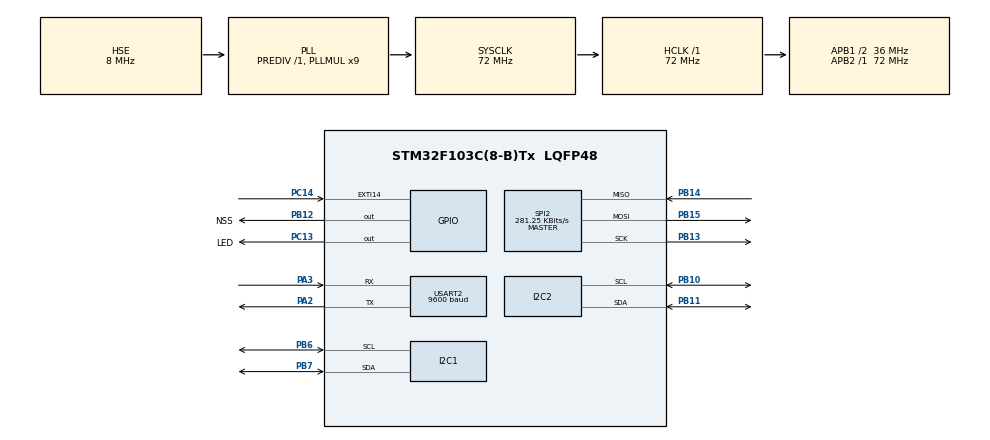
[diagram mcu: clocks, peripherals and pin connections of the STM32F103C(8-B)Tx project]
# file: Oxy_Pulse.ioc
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FATFS._CODE_PAGE=1
FATFS._USE_LFN=1
I2C2.I2C_Mode=I2C_Fast
Mcu.Family=STM32F1
Mcu.Name=STM32F103C(8-B)Tx
Mcu.Package=LQFP48
NVIC.EXTI15_10_IRQn=true\:0\:0\:false\:false\:true\:true\:true\:true
NVIC.I2C1_EV_IRQn=true\:0\:0\:false\:false\:true\:true\:true\:true
NVIC.I2C2_EV_IRQn=true\:0\:0\:false\:false\:true\:true\:true\:true
NVIC.PriorityGroup=NVIC_PRIORITYGROUP_4
NVIC.USART2_IRQn=true\:0\:0\:false\:false\:true\:true\:true\:true
PA13.Mode=Serial_Wire
PA13.Signal=SYS_JTMS-SWDIO
PA14.Mode=Serial_Wire
PA14.Signal=SYS_JTCK-SWCLK
PA2.Mode=Asynchronous
PA2.Signal=USART2_TX
PA3.Mode=Asynchronous
PA3.Signal=USART2_RX
PB10.Mode=I2C
PB10.Signal=I2C2_SCL
PB11.Mode=I2C
PB11.Signal=I2C2_SDA
PB12.GPIO_Label=NSS
PB12.Signal=GPIO_Output
PB13.Mode=Full_Duplex_Master
PB13.Signal=SPI2_SCK
PB14.Mode=Full_Duplex_Master
PB14.Signal=SPI2_MISO
PB15.Mode=Full_Duplex_Master
PB15.Signal=SPI2_MOSI
PB6.Mode=I2C
PB6.Signal=I2C1_SCL
PB7.Mode=I2C
PB7.Signal=I2C1_SDA
PC13-TAMPER-RTC.GPIO_Label=LED
PC13-TAMPER-RTC.Signal=GPIO_Output
PC14-OSC32_IN.GPIO_ModeDefaultEXTI=GPIO_MODE_IT_FALLING
PC14-OSC32_IN.GPIO_PuPd=GPIO_NOPULL
PC14-OSC32_IN.Signal=GPXTI14
PD0-OSC_IN.Mode=HSE-External-Oscillator
PD0-OSC_IN.Signal=RCC_OSC_IN
PD1-OSC_OUT.Mode=HSE-External-Oscillator
PD1-OSC_OUT.Signal=RCC_OSC_OUT
ProjectManager.HeapSize=0x200
ProjectManager.StackSize=0x400
ProjectManager.TargetToolchain=STM32CubeIDE
RCC.AHBFreq_Value=72000000
RCC.APB1CLKDivider=RCC_HCLK_DIV2
RCC.APB1Freq_Value=36000000
RCC.APB1TimFreq_Value=72000000
RCC.APB2Freq_Value=72000000
RCC.APB2TimFreq_Value=72000000
RCC.HCLKFreq_Value=72000000
RCC.PLLMUL=RCC_PLL_MUL9
RCC.PLLSourceVirtual=RCC_PLLSOURCE_HSE
RCC.RTCClockSelection=RCC_RTCCLKSOURCE_HSE_DIV128
RCC.SYSCLKFreq_VALUE=72000000
RCC.SYSCLKSource=RCC_SYSCLKSOURCE_PLLCLK
RCC.USBFreq_Value=72000000
RTC.Date=4
RTC.Hours=22
RTC.Minutes=50
RTC.Month=RTC_MONTH_NOVEMBER
RTC.WeekDay=RTC_WEEKDAY_FRIDAY
RTC.Year=22
SPI2.BaudRatePrescaler=SPI_BAUDRATEPRESCALER_128
SPI2.CalculateBaudRate=281.25 KBits/s
SPI2.Direction=SPI_DIRECTION_2LINES
SPI2.Mode=SPI_MODE_MASTER
SPI2.VirtualType=VM_MASTER
USART2.BaudRate=9600
USART2.VirtualMode=VM_ASYNC
VP_FATFS_VS_Generic.Mode=User_defined
VP_RTC_VS_RTC_Activate.Mode=RTC_Enabled
VP_RTC_VS_RTC_Calendar.Mode=RTC_Calendar
board=custom

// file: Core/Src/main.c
/* USER CODE BEGIN Header */
/**
  ******************************************************************************
  * @file           : main.c
  * @brief          : Main program body
  ******************************************************************************
  * @attention
  *
  * <h2><center>&copy; Copyright (c) 2022 STMicroelectronics.
  * All rights reserved.</center></h2>
  *
  * This software component is licensed by ST under BSD 3-Clause license,
  * the "License"; You may not use this file except in compliance with the
  * License. You may obtain a copy of the License at:
  *                        opensource.org/licenses/BSD-3-Clause
  *
  ******************************************************************************
  */
/* USER CODE END Header */
#include "main.h"
#include "fatfs.h"

/* USER CODE BEGIN Includes */
#include "stdio.h"
#include "stdbool.h"
#include "fonts.h"
#include "ssd1306.h"
#include "string.h"
#include "SPISD.h"
#include "Globals.h"
#include "MAX30100.h"
/* USER CODE END Includes */

/* USER CODE BEGIN PD */
#define DEMORA 4000
#define DEMORA2 1
#define DEMORA3 27
#define DEMORA4 5000
#define DEMORA5 10000
#define ACTIVADO 60
/* USER CODE END PD */

I2C_HandleTypeDef hi2c1;
I2C_HandleTypeDef hi2c2;

RTC_HandleTypeDef hrtc;

SPI_HandleTypeDef hspi2;

UART_HandleTypeDef huart2;

/* USER CODE BEGIN PV */

pulseoxymeter_t result;

SPISD spisd;
SPISD *mainSD = &spisd;
uint8_t Sector0[516];

uint16_t CONTADOR_1=DEMORA;
uint16_t CONTADOR_2=DEMORA2;
uint16_t CONTADOR_3=0;
uint16_t CONTADOR_4=0;
uint16_t CONTADOR_5=0;
uint16_t CONTADOR_ANTIRREBOTE=0;
uint16_t antirrebote=ACTIVADO;

uint8_t estado=0;
uint8_t state=0;
uint8_t byte;
uint8_t mensaje_START[]="Iniciando OXY_PULSE";
uint8_t mensaje_MIDIENDO[]="Listo para medir";
uint8_t mensaje_BPM[]="BPM:";
uint8_t mensaje_SPO2[]="SPO2:";
uint8_t mensaje_PULSO_PERDIDO[]="Pulso perdido...";
uint8_t mensaje_TAQUI[]="PELIGRO TAQUICARDIA";
uint8_t mensaje_BRADI[]="PELIGRO BRADICARDIA";

bool flag_pulso_perdido=0;
bool flag_pulsador_valido=0;
bool flag_estado_irq=1;
bool flag_HR_ON=0;
bool flag_limpiar=0;
bool flag_final=1;
bool flag_primera=1;
bool flag_mensaje=0;
bool flag_rebote=0;

bool debug=false;
const unsigned char LOGO [] = {
0x00, 0x00, 0x00, 0x00, 0x00, 0x00, 0x00, 0x00, 0x00, 0x00, 0x00, 0x00, 0x00, 0x00, 0x00, 0x00,
0x00, 0x00, 0x00, 0x00, 0x00, 0x00, 0x00, 0x00, 0x00, 0x00, 0x00, 0x00, 0x00, 0x00, 0x00, 0x00,
0x00, 0x00, 0x00, 0x00, 0x00, 0x00, 0x00, 0x00, 0x00, 0x00, 0x00, 0x00, 0x00, 0x00, 0x00, 0x00,
0x00, 0x00, 0x00, 0x00, 0x00, 0x00, 0x00, 0x00, 0x00, 0x00, 0x00, 0x00, 0x00, 0x00, 0x00, 0x00,
0x00, 0x00, 0x00, 0x00, 0x00, 0x00, 0x00, 0x00, 0x00, 0x00, 0x00, 0x00, 0x00, 0x00, 0x00, 0x00,
0x00, 0x00, 0x00, 0x00, 0x00, 0x00, 0x00, 0x00, 0x00, 0x00, 0x00, 0x00, 0x00, 0x00, 0x00, 0x00,
0x00, 0x00, 0x00, 0x00, 0x00, 0x00, 0x00, 0x00, 0x00, 0x00, 0x00, 0x00, 0x00, 0x00, 0x00, 0x00,
0x00, 0x00, 0x00, 0x00, 0x00, 0x00, 0x00, 0x00, 0x00, 0x00, 0x00, 0x00, 0x00, 0x00, 0x00, 0x00,
0x00, 0x00, 0x00, 0x00, 0x00, 0x00, 0x00, 0x00, 0x00, 0x00, 0x00, 0x00, 0x00, 0x00, 0x00, 0x00,
0x00, 0x00, 0x00, 0x00, 0x00, 0x00, 0x00, 0x00, 0x00, 0x00, 0x00, 0x00, 0x00, 0x00, 0x00, 0x00,
0x00, 0x00, 0x00, 0x00, 0x00, 0x00, 0x00, 0x00, 0x00, 0x00, 0x00, 0x00, 0x00, 0x00, 0x00, 0x00,
0x00, 0x00, 0x00, 0x00, 0x00, 0x00, 0x00, 0x00, 0x00, 0x00, 0x00, 0x00, 0x00, 0x00, 0x00, 0x00,
0x00, 0x00, 0x00, 0x00, 0x00, 0x00, 0x00, 0x00, 0x00, 0x00, 0x00, 0x00, 0x00, 0x00, 0x00, 0x00,
0x00, 0x00, 0x7F, 0x00, 0x00, 0xFE, 0x00, 0x00, 0x00, 0x00, 0x00, 0x00, 0x00, 0x00, 0x00, 0x00,
0x00, 0x01, 0xFF, 0xC0, 0x03, 0xFF, 0x80, 0x00, 0x00, 0x00, 0x00, 0x00, 0x00, 0x00, 0x00, 0x00,
0x00, 0x03, 0xFF, 0xF0, 0x0F, 0xFF, 0xC0, 0x00, 0x00, 0x00, 0x00, 0x00, 0x00, 0x00, 0x00, 0x00,
0x00, 0x07, 0xFF, 0xF8, 0x1F, 0xFF, 0xF0, 0x00, 0x00, 0x00, 0x00, 0x00, 0x00, 0x00, 0x00, 0x00,
0x00, 0x0F, 0xFF, 0xFC, 0x3F, 0xFF, 0xF0, 0x00, 0x00, 0x00, 0x00, 0x00, 0x00, 0x00, 0x00, 0x00,
0x00, 0x1F, 0xFF, 0xFE, 0x3F, 0xFF, 0xF8, 0x00, 0x00, 0x00, 0x00, 0x00, 0x00, 0x00, 0x00, 0x00,
0x00, 0x1F, 0xFF, 0xFE, 0x7F, 0xFF, 0xFC, 0x00, 0x00, 0x00, 0x00, 0x00, 0x00, 0x00, 0x00, 0x00,
0x00, 0x3F, 0xFF, 0xFF, 0xFF, 0xFF, 0xFC, 0x00, 0x00, 0x00, 0x00, 0x00, 0x00, 0x00, 0x00, 0x00,
0x00, 0x3F, 0xFF, 0xFC, 0x7F, 0xFF, 0xFC, 0x00, 0x00, 0x00, 0x00, 0x00, 0x00, 0x00, 0x00, 0x00,
0x00, 0x3F, 0xFF, 0xF8, 0x3F, 0xFF, 0xFC, 0x00, 0x00, 0x00, 0x00, 0x00, 0x00, 0x00, 0x00, 0x00,
0x00, 0x3F, 0xFF, 0xF9, 0x3F, 0xFF, 0xFC, 0x00, 0x00, 0x00, 0x00, 0x00, 0x00, 0x00, 0x00, 0x00,
0x00, 0x3F, 0xFF, 0xF9, 0x3F, 0xFF, 0xFC, 0x00, 0x00, 0x00, 0x00, 0x00, 0x00, 0x00, 0x00, 0x00,
0x00, 0x3F, 0xFF, 0xF9, 0x3F, 0xFF, 0xFC, 0x00, 0x00, 0x00, 0x00, 0x00, 0x00, 0x00, 0x00, 0x00,
0x00, 0x1F, 0xFF, 0xF9, 0x3F, 0xFF, 0xFC, 0x00, 0x00, 0x00, 0x00, 0x00, 0x00, 0x00, 0x00, 0x00,
0x00, 0x1F, 0xFF, 0xFB, 0x1F, 0xFF, 0xF8, 0x00, 0x00, 0x00, 0x00, 0x00, 0x00, 0x00, 0x00, 0x00,
0x00, 0x1F, 0xFF, 0xC3, 0x07, 0xFF, 0xF8, 0x00, 0x00, 0x00, 0x00, 0x00, 0x00, 0x00, 0x00, 0x00,
0x00, 0x0F, 0xFF, 0x83, 0x80, 0xFF, 0xF0, 0x00, 0x00, 0x00, 0x00, 0x00, 0x00, 0x00, 0x00, 0x00,
0x00, 0x0F, 0xFF, 0x92, 0x90, 0x7F, 0xF0, 0x00, 0x00, 0x00, 0x00, 0x00, 0x00, 0x00, 0x00, 0x00,
0x00, 0x00, 0x00, 0x3A, 0x91, 0x00, 0x00, 0x00, 0x00, 0x00, 0x00, 0x00, 0x00, 0x00, 0x00, 0x00,
0x00, 0x00, 0x00, 0x6E, 0x9B, 0x00, 0x00, 0x00, 0x00, 0x00, 0x00, 0x00, 0x00, 0x00, 0x00, 0x00,
0x00, 0x00, 0x00, 0x0C, 0xBB, 0x80, 0x00, 0x00, 0x00, 0x00, 0x00, 0x00, 0x00, 0x00, 0x00, 0x00,
0x00, 0x00, 0x00, 0x04, 0xAC, 0x00, 0x00, 0x00, 0x00, 0x00, 0x00, 0x00, 0x00, 0x00, 0x00, 0x00,
0x00, 0x00, 0xFF, 0xE4, 0xA4, 0x3F, 0x80, 0x00, 0x00, 0x00, 0x00, 0x00, 0x00, 0x00, 0x00, 0x00,
0x00, 0x00, 0xFF, 0xE0, 0xE0, 0xFF, 0x00, 0x00, 0x00, 0x00, 0x00, 0x00, 0x00, 0x00, 0x00, 0x00,
0x00, 0x00, 0x7F, 0xF0, 0xE1, 0xFE, 0x00, 0x00, 0x00, 0x00, 0x00, 0x00, 0x00, 0x00, 0x00, 0x00,
0x00, 0x00, 0x3F, 0xFE, 0x67, 0xFC, 0x00, 0x00, 0x00, 0x00, 0x00, 0x00, 0x00, 0x00, 0x00, 0x00,
0x00, 0x00, 0x1F, 0xFE, 0x47, 0xF8, 0x00, 0x00, 0x00, 0x00, 0x00, 0x00, 0x00, 0x00, 0x00, 0x00,
0x00, 0x00, 0x0F, 0xFE, 0x4F, 0xF0, 0x00, 0x00, 0x00, 0x00, 0x00, 0x00, 0x00, 0x00, 0x00, 0x00,
0x00, 0x00, 0x07, 0xFE, 0x4F, 0xE0, 0x00, 0x00, 0x00, 0x00, 0x00, 0x00, 0x00, 0x00, 0x00, 0x00,
0x00, 0x00, 0x03, 0xFE, 0x4F, 0xC0, 0x00, 0x00, 0x00, 0x00, 0x00, 0x00, 0x00, 0x00, 0x00, 0x00,
0x00, 0x00, 0x01, 0xFE, 0x0F, 0x80, 0x00, 0x00, 0x00, 0x00, 0x00, 0x00, 0x00, 0x00, 0x00, 0x00,
0x00, 0x00, 0x00, 0xFF, 0x1F, 0x00, 0x00, 0x00, 0x00, 0x00, 0x00, 0x00, 0x00, 0x00, 0x00, 0x00,
0x00, 0x00, 0x00, 0x7F, 0xFE, 0x00, 0x00, 0x00, 0x00, 0x00, 0x00, 0x00, 0x00, 0x00, 0x00, 0x00,
0x00, 0x00, 0x00, 0x3F, 0xFC, 0x00, 0x00, 0x00, 0x00, 0x00, 0x00, 0x00, 0x00, 0x00, 0x00, 0x00,
0x00, 0x00, 0x00, 0x1F, 0xF8, 0x00, 0x00, 0x00, 0x00, 0x00, 0x00, 0x00, 0x00, 0x00, 0x00, 0x00,
0x00, 0x00, 0x00, 0x0F, 0xF0, 0x00, 0x00, 0x00, 0x00, 0x00, 0x00, 0x00, 0x00, 0x00, 0x00, 0x00,
0x00, 0x00, 0x00, 0x07, 0xE0, 0x00, 0x00, 0x00, 0x00, 0x00, 0x00, 0x00, 0x00, 0x00, 0x00, 0x00,
0x00, 0x00, 0x00, 0x01, 0xC0, 0x00, 0x00, 0x00, 0x00, 0x00, 0x00, 0x00, 0x00, 0x00, 0x00, 0x00,
0x00, 0x00, 0x00, 0x00, 0x00, 0x00, 0x00, 0x00, 0x00, 0x00, 0x00, 0x00, 0x00, 0x00, 0x00, 0x00,
0x00, 0x00, 0x00, 0x00, 0x00, 0x00, 0x00, 0x00, 0x00, 0x00, 0x00, 0x00, 0x00, 0x00, 0x00, 0x00,
0x00, 0x00, 0x00, 0x00, 0x00, 0x00, 0x00, 0x00, 0x00, 0x00, 0x00, 0x00, 0x00, 0x00, 0x00, 0x00,
0x00, 0x00, 0x00, 0x00, 0x00, 0x00, 0x00, 0x00, 0x00, 0x00, 0x00, 0x00, 0x00, 0x00, 0x00, 0x00,
0x00, 0x00, 0x00, 0x00, 0x00, 0x00, 0x00, 0x00, 0x00, 0x00, 0x00, 0x00, 0x00, 0x00, 0x00, 0x00,
0x00, 0x00, 0x00, 0x00, 0x00, 0x00, 0x00, 0x00, 0x00, 0x00, 0x00, 0x00, 0x00, 0x00, 0x00, 0x00,
0x00, 0x00, 0x00, 0x00, 0x00, 0x00, 0x00, 0x00, 0x00, 0x00, 0x00, 0x00, 0x00, 0x00, 0x00, 0x00,
0x00, 0x00, 0x00, 0x00, 0x00, 0x00, 0x00, 0x00, 0x00, 0x00, 0x00, 0x00, 0x00, 0x00, 0x00, 0x00,
0x00, 0x00, 0x00, 0x00, 0x00, 0x00, 0x00, 0x00, 0x00, 0x00, 0x00, 0x00, 0x00, 0x00, 0x00, 0x00,
0x00, 0x00, 0x00, 0x00, 0x00, 0x00, 0x00, 0x00, 0x00, 0x00, 0x00, 0x00, 0x00, 0x00, 0x00, 0x00,
0x00, 0x00, 0x00, 0x00, 0x00, 0x00, 0x00, 0x00, 0x00, 0x00, 0x00, 0x00, 0x00, 0x00, 0x00, 0x00,
0x00, 0x00, 0x00, 0x00, 0x00, 0x00, 0x00, 0x00, 0x00, 0x00, 0x00, 0x00, 0x00, 0x00, 0x00, 0x00,
0x00, 0x00, 0x00, 0x00, 0x00, 0x00, 0x00, 0x00, 0x00, 0x00, 0x00, 0x00, 0x00, 0x00, 0x00, 0x00
};

const unsigned char TILDE_OK [] = {
0x00, 0x00, 0x00, 0x00, 0x00, 0x00, 0x00, 0x00, 0x00, 0x00, 0x00, 0x00, 0x00, 0x00, 0x00, 0x00,
0x00, 0x00, 0x00, 0xC0, 0x00, 0x00, 0x00, 0x00, 0x00, 0x00, 0x00, 0x00, 0x00, 0x00, 0x00, 0x00,
0x00, 0x00, 0x03, 0x00, 0x00, 0x00, 0x00, 0x00, 0x00, 0x00, 0x00, 0x00, 0x00, 0x00, 0x00, 0x00,
0x00, 0x00, 0x0E, 0x00, 0x00, 0x00, 0x00, 0x00, 0x00, 0x00, 0x00, 0x00, 0x00, 0x00, 0x00, 0x00,
0x00, 0x00, 0x38, 0x00, 0x00, 0x00, 0x00, 0x00, 0x00, 0x00, 0x00, 0x00, 0x00, 0x00, 0x00, 0x00,
0x00, 0x00, 0x70, 0x00, 0x00, 0x00, 0x00, 0x00, 0x00, 0x00, 0x00, 0x00, 0x00, 0x00, 0x00, 0x00,
0x00, 0x03, 0xE0, 0x00, 0x00, 0x00, 0x00, 0x00, 0x00, 0x00, 0x00, 0x00, 0x00, 0x00, 0x00, 0x00,
0x0C, 0x07, 0xC0, 0x00, 0x00, 0x00, 0x00, 0x00, 0x00, 0x00, 0x00, 0x00, 0x00, 0x00, 0x00, 0x00,
0x07, 0x9F, 0x00, 0x00, 0x00, 0x00, 0x00, 0x00, 0x00, 0x00, 0x00, 0x00, 0x00, 0x00, 0x00, 0x00,
0x03, 0xFE, 0x00, 0x00, 0x00, 0x00, 0x00, 0x00, 0x00, 0x00, 0x00, 0x00, 0x00, 0x00, 0x00, 0x00,
0x00, 0xFC, 0x00, 0x00, 0x00, 0x00, 0x00, 0x00, 0x00, 0x00, 0x00, 0x00, 0x00, 0x00, 0x00, 0x00,
0x00, 0x7C, 0x00, 0x00, 0x00, 0x00, 0x00, 0x00, 0x00, 0x00, 0x00, 0x00, 0x00, 0x00, 0x00, 0x00,
0x00, 0x38, 0x00, 0x00, 0x00, 0x00, 0x00, 0x00, 0x00, 0x00, 0x00, 0x00, 0x00, 0x00, 0x00, 0x00,
0x00, 0x10, 0x00, 0x00, 0x00, 0x00, 0x00, 0x00, 0x00, 0x00, 0x00, 0x00, 0x00, 0x00, 0x00, 0x00,
0x00, 0x00, 0x00, 0x00, 0x00, 0x00, 0x00, 0x00, 0x00, 0x00, 0x00, 0x00, 0x00, 0x00, 0x00, 0x00,
0x00, 0x00, 0x00, 0x00, 0x00, 0x00, 0x00, 0x00, 0x00, 0x00, 0x00, 0x00, 0x00, 0x00, 0x00, 0x00,
0x00, 0x00, 0x00, 0x00, 0x00, 0x00, 0x00, 0x00, 0x00, 0x00, 0x00, 0x00, 0x00, 0x00, 0x00, 0x00,
0x00, 0x00, 0x00, 0x00, 0x00, 0x00, 0x00, 0x00, 0x00, 0x00, 0x00, 0x00, 0x00, 0x00, 0x00, 0x00,
0x00, 0x00, 0x00, 0x00, 0x00, 0x00, 0x00, 0x00, 0x00, 0x00, 0x00, 0x00, 0x00, 0x00, 0x00, 0x00,
0x00, 0x00, 0x00, 0x00, 0x00, 0x00, 0x00, 0x00, 0x00, 0x00, 0x00, 0x00, 0x00, 0x00, 0x00, 0x00,
0x00, 0x00, 0x00, 0x00, 0x00, 0x00, 0x00, 0x00, 0x00, 0x00, 0x00, 0x00, 0x00, 0x00, 0x00, 0x00,
0x00, 0x00, 0x00, 0x00, 0x00, 0x00, 0x00, 0x00, 0x00, 0x00, 0x00, 0x00, 0x00, 0x00, 0x00, 0x00,
0x00, 0x00, 0x00, 0x00, 0x00, 0x00, 0x00, 0x00, 0x00, 0x00, 0x00, 0x00, 0x00, 0x00, 0x00, 0x00,
0x00, 0x00, 0x00, 0x00, 0x00, 0x00, 0x00, 0x00, 0x00, 0x00, 0x00, 0x00, 0x00, 0x00, 0x00, 0x00,
0x00, 0x00, 0x00, 0x00, 0x00, 0x00, 0x00, 0x00, 0x00, 0x00, 0x00, 0x00, 0x00, 0x00, 0x00, 0x00,
0x00, 0x00, 0x00, 0x00, 0x00, 0x00, 0x00, 0x00, 0x00, 0x00, 0x00, 0x00, 0x00, 0x00, 0x00, 0x00,
0x00, 0x00, 0x00, 0x00, 0x00, 0x00, 0x00, 0x00, 0x00, 0x00, 0x00, 0x00, 0x00, 0x00, 0x00, 0x00,
0x00, 0x00, 0x00, 0x00, 0x00, 0x00, 0x00, 0x00, 0x00, 0x00, 0x00, 0x00, 0x00, 0x00, 0x00, 0x00,
0x00, 0x00, 0x00, 0x00, 0x00, 0x00, 0x00, 0x00, 0x00, 0x00, 0x00, 0x00, 0x00, 0x00, 0x00, 0x00,
0x00, 0x00, 0x00, 0x00, 0x00, 0x00, 0x00, 0x00, 0x00, 0x00, 0x00, 0x00, 0x00, 0x00, 0x00, 0x00,
0x00, 0x00, 0x00, 0x00, 0x00, 0x00, 0x00, 0x00, 0x00, 0x00, 0x00, 0x00, 0x00, 0x00, 0x00, 0x00,
0x00, 0x00, 0x00, 0x00, 0x00, 0x00, 0x00, 0x00, 0x00, 0x00, 0x00, 0x00, 0x00, 0x00, 0x00, 0x00,
0x00, 0x00, 0x00, 0x00, 0x00, 0x00, 0x00, 0x00, 0x00, 0x00, 0x00, 0x00, 0x00, 0x00, 0x00, 0x00,
0x00, 0x00, 0x00, 0x00, 0x00, 0x00, 0x00, 0x00, 0x00, 0x00, 0x00, 0x00, 0x00, 0x00, 0x00, 0x00,
0x00, 0x00, 0x00, 0x00, 0x00, 0x00, 0x00, 0x00, 0x00, 0x00, 0x00, 0x00, 0x00, 0x00, 0x00, 0x00,
0x00, 0x00, 0x00, 0x00, 0x00, 0x00, 0x00, 0x00, 0x00, 0x00, 0x00, 0x00, 0x00, 0x00, 0x00, 0x00,
0x00, 0x00, 0x00, 0x00, 0x00, 0x00, 0x00, 0x00, 0x00, 0x00, 0x00, 0x00, 0x00, 0x00, 0x00, 0x00,
0x00, 0x00, 0x00, 0x00, 0x00, 0x00, 0x00, 0x00, 0x00, 0x00, 0x00, 0x00, 0x00, 0x00, 0x00, 0x00,
0x00, 0x00, 0x00, 0x00, 0x00, 0x00, 0x00, 0x00, 0x00, 0x00, 0x00, 0x00, 0x00, 0x00, 0x00, 0x00,
0x00, 0x00, 0x00, 0x00, 0x00, 0x00, 0x00, 0x00, 0x00, 0x00, 0x00, 0x00, 0x00, 0x00, 0x00, 0x00,
0x00, 0x00, 0x00, 0x00, 0x00, 0x00, 0x00, 0x00, 0x00, 0x00, 0x00, 0x00, 0x00, 0x00, 0x00, 0x00,
0x00, 0x00, 0x00, 0x00, 0x00, 0x00, 0x00, 0x00, 0x00, 0x00, 0x00, 0x00, 0x00, 0x00, 0x00, 0x00,
0x00, 0x00, 0x00, 0x00, 0x00, 0x00, 0x00, 0x00, 0x00, 0x00, 0x00, 0x00, 0x00, 0x00, 0x00, 0x00,
0x00, 0x00, 0x00, 0x00, 0x00, 0x00, 0x00, 0x00, 0x00, 0x00, 0x00, 0x00, 0x00, 0x00, 0x00, 0x00,
0x00, 0x00, 0x00, 0x00, 0x00, 0x00, 0x00, 0x00, 0x00, 0x00, 0x00, 0x00, 0x00, 0x00, 0x00, 0x00,
0x00, 0x00, 0x00, 0x00, 0x00, 0x00, 0x00, 0x00, 0x00, 0x00, 0x00, 0x00, 0x00, 0x00, 0x00, 0x00,
0x00, 0x00, 0x00, 0x00, 0x00, 0x00, 0x00, 0x00, 0x00, 0x00, 0x00, 0x00, 0x00, 0x00, 0x00, 0x00,
0x00, 0x00, 0x00, 0x00, 0x00, 0x00, 0x00, 0x00, 0x00, 0x00, 0x00, 0x00, 0x00, 0x00, 0x00, 0x00,
0x00, 0x00, 0x00, 0x00, 0x00, 0x00, 0x00, 0x00, 0x00, 0x00, 0x00, 0x00, 0x00, 0x00, 0x00, 0x00,
0x00, 0x00, 0x00, 0x00, 0x00, 0x00, 0x00, 0x00, 0x00, 0x00, 0x00, 0x00, 0x00, 0x00, 0x00, 0x00,
0x00, 0x00, 0x00, 0x00, 0x00, 0x00, 0x00, 0x00, 0x00, 0x00, 0x00, 0x00, 0x00, 0x00, 0x00, 0x00,
0x00, 0x00, 0x00, 0x00, 0x00, 0x00, 0x00, 0x00, 0x00, 0x00, 0x00, 0x00, 0x00, 0x00, 0x00, 0x00,
0x00, 0x00, 0x00, 0x00, 0x00, 0x00, 0x00, 0x00, 0x00, 0x00, 0x00, 0x00, 0x00, 0x00, 0x00, 0x00,
0x00, 0x00, 0x00, 0x00, 0x00, 0x00, 0x00, 0x00, 0x00, 0x00, 0x00, 0x00, 0x00, 0x00, 0x00, 0x00,
0x00, 0x00, 0x00, 0x00, 0x00, 0x00, 0x00, 0x00, 0x00, 0x00, 0x00, 0x00, 0x00, 0x00, 0x00, 0x00,
0x00, 0x00, 0x00, 0x00, 0x00, 0x00, 0x00, 0x00, 0x00, 0x00, 0x00, 0x00, 0x00, 0x00, 0x00, 0x00,
0x00, 0x00, 0x00, 0x00, 0x00, 0x00, 0x00, 0x00, 0x00, 0x00, 0x00, 0x00, 0x00, 0x00, 0x00, 0x00,
0x00, 0x00, 0x00, 0x00, 0x00, 0x00, 0x00, 0x00, 0x00, 0x00, 0x00, 0x00, 0x00, 0x00, 0x00, 0x00,
0x00, 0x00, 0x00, 0x00, 0x00, 0x00, 0x00, 0x00, 0x00, 0x00, 0x00, 0x00, 0x00, 0x00, 0x00, 0x00,
0x00, 0x00, 0x00, 0x00, 0x00, 0x00, 0x00, 0x00, 0x00, 0x00, 0x00, 0x00, 0x00, 0x00, 0x00, 0x00,
0x00, 0x00, 0x00, 0x00, 0x00, 0x00, 0x00, 0x00, 0x00, 0x00, 0x00, 0x00, 0x00, 0x00, 0x00, 0x00,
0x00, 0x00, 0x00, 0x00, 0x00, 0x00, 0x00, 0x00, 0x00, 0x00, 0x00, 0x00, 0x00, 0x00, 0x00, 0x00,
0x00, 0x00, 0x00, 0x00, 0x00, 0x00, 0x00, 0x00, 0x00, 0x00, 0x00, 0x00, 0x00, 0x00, 0x00, 0x00,
0x00, 0x00, 0x00, 0x00, 0x00, 0x00, 0x00, 0x00, 0x00, 0x00, 0x00, 0x00, 0x00, 0x00, 0x00, 0x00
};

uint8_t buf1=0;
uint8_t buf2=0;
uint8_t i=0;
uint16_t j=0;
char bufferserie_bpm[20];
char bufferserie_SPO2[20];
char bufferserie_bpm_SD[20];
char bufferserie_SPO2_SD[20];

char 	buffer_bpm[5]={0};
char 	buffer_SO2[5]={0};

typedef char 	datosSD[20];
datosSD			vectorSD[200];

float 	heartBPM_AVG=0;
float 	SaO2_AVG=0;

/* USER CODE END PV */

void SystemClock_Config(void);
static void MX_GPIO_Init(void);
static void MX_I2C1_Init(void);
static void MX_I2C2_Init(void);
static void MX_SPI2_Init(void);
static void MX_USART2_UART_Init(void);
static void MX_RTC_Init(void);

/* USER CODE BEGIN 0 */
RTC_HandleTypeDef *pRTC;
/* USER CODE END 0 */

int main(void)
{

  /* MCU Configuration--------------------------------------------------------*/

  /* Reset of all peripherals, Initializes the Flash interface and the Systick. */
  HAL_Init();

  /* Configure the system clock */
  SystemClock_Config();

  /* USER CODE BEGIN SysInit */
  spisd.FSM=Encendido;
  spisd.csPuerto = NSS_GPIO_Port;
  spisd.csPin = NSS_Pin;
  spisd.puertoSPI = &hspi2;
  spisd.sectorAddressing=1; //Asumimos SDHC (+2GB)
  spisd.hrtc = &hrtc;
  pRTC=&hrtc;
  /* USER CODE END SysInit */

  /* Initialize all configured peripherals */
  MX_GPIO_Init();
  MX_I2C1_Init();
  MX_I2C2_Init();
  MX_SPI2_Init();
  MX_USART2_UART_Init();
  MX_RTC_Init();
  MX_FATFS_Init();
  /* USER CODE BEGIN 2 */
  SSD1306_Init();
  MAX30100_Init();
  HAL_UART_Receive_IT(&huart2, &byte, sizeof(byte));

  SSD1306_GotoXY(95, 2);
  SSD1306_Puts("v1.1",&Font_7x10,1);
  SSD1306_GotoXY(40, 0);
  SSD1306_Puts("OXY",&Font_16x26,1);
  SSD1306_GotoXY(25, 24);
  SSD1306_Puts("PULSE",&Font_16x26,1);
  SSD1306_GotoXY(10, 50);
  SSD1306_Puts("...Iniciando...",&Font_7x10,1);
  SSD1306_UpdateScreen();
  SSD1306_ScrollRight(0x06, 0x07);

  f_mount(&USERFatFS,USERPath,0);
  f_open(&USERFile,"OXY.txt",FA_CREATE_ALWAYS | FA_WRITE);
  uint32_t output;
  f_write(&USERFile,"VALORES:\n",strlen("VALORES:\n"),(void*)&output);
  f_sync(&USERFile);

   //   f_write(&USERFile,"\nOXY_PULSE",sizeof("OXY_PULSE"),(void*)&output);
   //   f_write(&USERFile,"\nOXY_PULSE",sizeof("OXY_PULSE"),(void*)&output);
   //   f_write(&USERFile,"\nOXY_PULSE",sizeof("OXY_PULSE"),(void*)&output);
   //   f_write(&USERFile,"\nOXY_PULSE",sizeof("OXY_PULSE"),(void*)&output);
   //if (f_write(&USERFile,"OXY_PULSE",sizeof("OXY_PULSE"),(void*)&output)==FR_OK)
//   {
 	//  if (f_sync(&USERFile)==FR_OK){
 		//  f_close(&USERFile);
 	  //}

   //}
   //Inicio_SPO2_HR();
   //Inicio_SPO2_HR();

  /* USER CODE END 2 */

  /* Infinite loop */
  while (1)
  {

    /* USER CODE BEGIN 3 */
	  switch(estado){
	  case INICIANDO:
	  	  //PANTALLA 1: INICIANDO EL DISPOSITIVO
/////////////////////////////////////////////////////////////////////////////

		  if(!CONTADOR_1)
		  {
			  estado=PREPARADO;
			  CONTADOR_1=DEMORA;
			  SSD1306_Stopscroll();
			  SSD1306_Clear();

			  HAL_UART_Transmit(&huart2, mensaje_START, sizeof(mensaje_START), HAL_MAX_DELAY);
		  }
		  ///////////////////////////////////////////////////////////////////
		  break;
	  case PREPARADO:
		  	  //PANTALLA 2: PULSAR PARA COMENZAR LA MEDICIÓN
/////////////////////////////////////////////////////////////////////////////
		  SSD1306_DrawBitmap(0, 0, LOGO, 128, 64, 1);
		  SSD1306_GotoXY(70, 0);
		  SSD1306_Puts("'OK'",&Font_11x18,1);
		  SSD1306_GotoXY(80, 27);
		  SSD1306_Puts("para",&Font_7x10,1);
		  SSD1306_GotoXY(70, 50);
		  SSD1306_Puts("iniciar",&Font_7x10,1);
		  SSD1306_UpdateScreen();
////////////////////////////////////////////////////////////////////////////

		  if(!CONTADOR_1 && flag_pulsador_valido)
		  {
			estado=MIDIENDO;							//SE ESPERA QUE SE ACCIONE EL PULSADOR. CUANDO SE PULSA, FLAG_PULSADOR=1
			MAX30100_I2C_Reset_FIFO();				//SE RESETEA EL FIFO Y SE LIMPIA LA VARIABLE RESULT
			CONTADOR_3=DEMORA4;						//CAMBIO AL SIGUIENTE ESTADO "MIDIENDO"
			Resetea_Resultados(&result);
			flag_limpiar=1;
			flag_primera=1;
			flag_pulsador_valido=0;

		  }

		  if(flag_limpiar)
		  {
			  SSD1306_Clear();							//FLAG PARA LIMPIAR CORRECTAMENTE LA PANTALLA Y EVITAR PARPADEOS
			  flag_limpiar=0;
		  }

		  if(CONTADOR_1 && !flag_pulsador_valido && !flag_mensaje)
		  {
			  HAL_UART_Transmit(&huart2, mensaje_MIDIENDO, sizeof(mensaje_MIDIENDO), HAL_MAX_DELAY);
			  HAL_UART_Receive_IT(&huart2, &byte, sizeof(byte));
			  flag_mensaje=1;
		  }
		  break;
		  	  	  	  	  	 	 	 	 	 	 	 	 //TRANSMISIÓN BLUETOOTH mensaje_START "Iniciando OXY_PULSE.."

	  case MIDIENDO:

		  result=Actualizar_Resultados();				//ACTUALIZACIÓN DE LA VARIABLE "result" IMPLEMENTANDO EL ALGORITMO EN MAX30100.c

		  estado=PRESENTACION;							//CAMBIO DE ESTADO AL SIGUIENTE CASE PARA PRESENTAR VALORES EN PANTALLA
		  CONTADOR_1=DEMORA3; 							//DEMORA DE 27ms PARA LA CORRECTA EJECUCION DEL FILTRADO

		  //CONTADOR_3=DEMORA4;

		  if(flag_primera && !flag_limpiar)
		  {
			  flag_rebote=0;
			  flag_limpiar=1;							//LA PRIMERA VEZ QUE SE PASA POR EL CASE "MIDIENDO" DEBO LIMPIAR LA PANTALLA
			  flag_primera=0;							//EN FUTUROS PASOS FLAG_PRIMERA=0
			  CONTADOR_2=DEMORA;						//DEMORA PARA LIMPIAR PANTALLA
		  }
			//  antirrebote=ACTIVADO;
		  break;
	  case PRESENTACION:

		  if(flag_limpiar && !flag_primera)								//LIMPIO PANTALLA SOLO LA PRIMERA VEZ
		  {
			SSD1306_Clear();
			flag_limpiar=1;
			flag_primera=1;
			i=0;
		  }

		  if(result.pulseDetected == true)
		  {
				  flag_pulso_perdido=0;
				  CONTADOR_4=0;
				  buf1=(uint8_t)result.heartBPM;
				  buf2=(uint8_t)result.SaO2;

				  if(buf2>99)
				  {
					  buf2=99;				//PARA NO MOSTRAR PORCENTAJES MAYORES A 99%
				  }

				  sprintf(bufferserie_bpm,"%s %u \n",mensaje_BPM,(unsigned)buf1);
				  sprintf(bufferserie_SPO2,"%s %u \n",mensaje_SPO2,(unsigned)buf2);
				  //sprintf(bufferserie_bpm,"%s %u \n",mensaje_BPM,(unsigned)result.heartBPM);
				  //sprintf(bufferserie_SPO2,"%s %u \n",mensaje_SPO2,(unsigned)result.SaO2);

				  sprintf(buffer_bpm,"%u",buf1);
				  sprintf(buffer_SO2,"%u",buf2);

				  HAL_UART_Transmit(&huart2, (uint8_t*)bufferserie_bpm, strlen(bufferserie_bpm), HAL_MAX_DELAY);
				  HAL_UART_Transmit(&huart2, (uint8_t*)bufferserie_SPO2, strlen(bufferserie_SPO2), HAL_MAX_DELAY);

				  strcpy(vectorSD[j],bufferserie_bpm);
				  j++;
				  strcpy(vectorSD[j],bufferserie_SPO2);
				  j++;
				  /*
				  f_write(&USERFile,bufferserie_bpm,strlen(bufferserie_bpm),(void*)&output);
				  f_write(&USERFile,bufferserie_SPO2,strlen(bufferserie_SPO2),(void*)&output);
				  f_sync(&USERFile);
				  */
				  if(!flag_limpiar && buf1<100)
				  {
					  SSD1306_Clear();
					  flag_limpiar=1;
				  }

				  SSD1306_GotoXY(10, 5);
				  SSD1306_Puts("BPM:",&Font_11x18,1);
				  SSD1306_GotoXY(70, 5);
				  SSD1306_Puts(buffer_bpm,&Font_11x18,1);
				  //SSD1306_Putc(buf1, &Font_11x18, 1);
				  SSD1306_GotoXY(10, 35);
				  SSD1306_Puts("SO2:",&Font_11x18,1);
				  SSD1306_GotoXY(70, 35);
				  SSD1306_Puts(buffer_SO2,&Font_11x18,1);
				  //SSD1306_Putc(buf2, &Font_11x18, 1);
				  SSD1306_GotoXY(90, 35);
				  SSD1306_Puts(" %",&Font_11x18,1);
				  SSD1306_UpdateScreen();

				  if(flag_limpiar && buf1>100)
				  {
					  flag_limpiar=0;
				  }
			  }

			  if(!CONTADOR_1 && !flag_pulsador_valido)
			  {
				  estado=MIDIENDO;
				  CONTADOR_1=0;
			  }

		  	  if(flag_pulsador_valido)
		  	  {
		  		  estado=PREPARADO;
		  		  flag_limpiar=1;
		  		  flag_primera=1;
		  		  flag_pulsador_valido=0;
		  		  for(int k=0;k<j;k++)
		  		  {
					  f_write(&USERFile,vectorSD[k],strlen(vectorSD[k]),(void*)&output);
		  		  }
		  		  f_sync(&USERFile);
		  		  f_close(&USERFile);
		  	  }

///////////////////////////////////////////////////
			//LIMPIO PANTALLA CADA 10ms
			 /* if(!CONTADOR_2)
			  {
				  CONTADOR_2=DEMORA;
				  SSD1306_Clear();
			  }
			  */
//////////////////////////////////////////////////
	/*		  if(!result.pulseDetected)
			  {
				  switch(state)
				  {
				  case 0:

						  CONTADOR_4=DEMORA4;
						  state=1;
						  flag_pulso_perdido=1;

					  break;

				  case 1:
					  if (!CONTADOR_4 && flag_pulso_perdido)
					  {
						  //SSD1306_Clear();
						  buf1=0;
						  buf2=0;
						  sprintf(buffer_bpm,"%u",buf1);
						  sprintf(buffer_SO2,"%u",buf2);
						  SSD1306_GotoXY(10, 5);
						  SSD1306_Puts("BPM:00",&Font_11x18,1);
						  //SSD1306_GotoXY(70, 5);
						  //SSD1306_Puts(buffer_bpm,&Font_11x18,1);

						  SSD1306_GotoXY(10, 35);
						  SSD1306_Puts("SO2:00",&Font_11x18,1);
						  //SSD1306_GotoXY(70, 35);
						  //SSD1306_Puts(buffer_SO2,&Font_11x18,1);

						  SSD1306_GotoXY(90, 35);
						  SSD1306_Puts(" %",&Font_11x18,1);
						  SSD1306_UpdateScreen();
						  CONTADOR_4=0;
						  state=0;

						  HAL_UART_Transmit(&huart2, mensaje_PULSO_PERDIDO, sizeof(mensaje_PULSO_PERDIDO), HAL_MAX_DELAY);
					  }
					  break;
				  default:;
				  }
			  }
*/

		  break;
	  	  default:;
		  }
  }

  /* USER CODE END 3 */
}

void SystemClock_Config(void)
{
  RCC_OscInitTypeDef RCC_OscInitStruct = {0};
  RCC_ClkInitTypeDef RCC_ClkInitStruct = {0};
  RCC_PeriphCLKInitTypeDef PeriphClkInit = {0};

  /** Initializes the RCC Oscillators according to the specified parameters
  * in the RCC_OscInitTypeDef structure.
  */
  RCC_OscInitStruct.OscillatorType = RCC_OSCILLATORTYPE_HSE;
  RCC_OscInitStruct.HSEState = RCC_HSE_ON;
  RCC_OscInitStruct.HSEPredivValue = RCC_HSE_PREDIV_DIV1;
  RCC_OscInitStruct.HSIState = RCC_HSI_ON;
  RCC_OscInitStruct.PLL.PLLState = RCC_PLL_ON;
  RCC_OscInitStruct.PLL.PLLSource = RCC_PLLSOURCE_HSE;
  RCC_OscInitStruct.PLL.PLLMUL = RCC_PLL_MUL9;
  if (HAL_RCC_OscConfig(&RCC_OscInitStruct) != HAL_OK)
  {
    Error_Handler();
  }

  /** Initializes the CPU, AHB and APB buses clocks
  */
  RCC_ClkInitStruct.ClockType = RCC_CLOCKTYPE_HCLK|RCC_CLOCKTYPE_SYSCLK
                              |RCC_CLOCKTYPE_PCLK1|RCC_CLOCKTYPE_PCLK2;
  RCC_ClkInitStruct.SYSCLKSource = RCC_SYSCLKSOURCE_PLLCLK;
  RCC_ClkInitStruct.AHBCLKDivider = RCC_SYSCLK_DIV1;
  RCC_ClkInitStruct.APB1CLKDivider = RCC_HCLK_DIV2;
  RCC_ClkInitStruct.APB2CLKDivider = RCC_HCLK_DIV1;

  if (HAL_RCC_ClockConfig(&RCC_ClkInitStruct, FLASH_LATENCY_2) != HAL_OK)
  {
    Error_Handler();
  }
  PeriphClkInit.PeriphClockSelection = RCC_PERIPHCLK_RTC;
  PeriphClkInit.RTCClockSelection = RCC_RTCCLKSOURCE_HSE_DIV128;
  if (HAL_RCCEx_PeriphCLKConfig(&PeriphClkInit) != HAL_OK)
  {
    Error_Handler();
  }
}

static void MX_I2C1_Init(void)
{

  hi2c1.Instance = I2C1;
  hi2c1.Init.ClockSpeed = 100000;
  hi2c1.Init.DutyCycle = I2C_DUTYCYCLE_2;
  hi2c1.Init.OwnAddress1 = 0;
  hi2c1.Init.AddressingMode = I2C_ADDRESSINGMODE_7BIT;
  hi2c1.Init.DualAddressMode = I2C_DUALADDRESS_DISABLE;
  hi2c1.Init.OwnAddress2 = 0;
  hi2c1.Init.GeneralCallMode = I2C_GENERALCALL_DISABLE;
  hi2c1.Init.NoStretchMode = I2C_NOSTRETCH_DISABLE;
  if (HAL_I2C_Init(&hi2c1) != HAL_OK)
  {
    Error_Handler();
  }

}

static void MX_I2C2_Init(void)
{

  hi2c2.Instance = I2C2;
  hi2c2.Init.ClockSpeed = 400000;
  hi2c2.Init.DutyCycle = I2C_DUTYCYCLE_2;
  hi2c2.Init.OwnAddress1 = 0;
  hi2c2.Init.AddressingMode = I2C_ADDRESSINGMODE_7BIT;
  hi2c2.Init.DualAddressMode = I2C_DUALADDRESS_DISABLE;
  hi2c2.Init.OwnAddress2 = 0;
  hi2c2.Init.GeneralCallMode = I2C_GENERALCALL_DISABLE;
  hi2c2.Init.NoStretchMode = I2C_NOSTRETCH_DISABLE;
  if (HAL_I2C_Init(&hi2c2) != HAL_OK)
  {
    Error_Handler();
  }

}

static void MX_RTC_Init(void)
{

  RTC_TimeTypeDef sTime = {0};
  RTC_DateTypeDef DateToUpdate = {0};

  /** Initialize RTC Only
  */
  hrtc.Instance = RTC;
  hrtc.Init.AsynchPrediv = RTC_AUTO_1_SECOND;
  hrtc.Init.OutPut = RTC_OUTPUTSOURCE_ALARM;
  if (HAL_RTC_Init(&hrtc) != HAL_OK)
  {
    Error_Handler();
  }

  /** Initialize RTC and set the Time and Date
  */
  sTime.Hours = 0x22;
  sTime.Minutes = 0x50;
  sTime.Seconds = 0x0;

  if (HAL_RTC_SetTime(&hrtc, &sTime, RTC_FORMAT_BCD) != HAL_OK)
  {
    Error_Handler();
  }
  DateToUpdate.WeekDay = RTC_WEEKDAY_FRIDAY;
  DateToUpdate.Month = RTC_MONTH_NOVEMBER;
  DateToUpdate.Date = 0x4;
  DateToUpdate.Year = 0x22;

  if (HAL_RTC_SetDate(&hrtc, &DateToUpdate, RTC_FORMAT_BCD) != HAL_OK)
  {
    Error_Handler();
  }

}

static void MX_SPI2_Init(void)
{

  /* SPI2 parameter configuration*/
  hspi2.Instance = SPI2;
  hspi2.Init.Mode = SPI_MODE_MASTER;
  hspi2.Init.Direction = SPI_DIRECTION_2LINES;
  hspi2.Init.DataSize = SPI_DATASIZE_8BIT;
  hspi2.Init.CLKPolarity = SPI_POLARITY_LOW;
  hspi2.Init.CLKPhase = SPI_PHASE_1EDGE;
  hspi2.Init.NSS = SPI_NSS_SOFT;
  hspi2.Init.BaudRatePrescaler = SPI_BAUDRATEPRESCALER_128;
  hspi2.Init.FirstBit = SPI_FIRSTBIT_MSB;
  hspi2.Init.TIMode = SPI_TIMODE_DISABLE;
  hspi2.Init.CRCCalculation = SPI_CRCCALCULATION_DISABLE;
  hspi2.Init.CRCPolynomial = 10;
  if (HAL_SPI_Init(&hspi2) != HAL_OK)
  {
    Error_Handler();
  }

}

static void MX_USART2_UART_Init(void)
{

  /* USER CODE BEGIN USART2_Init 0 */
	__USART2_CLK_ENABLE();
  /* USER CODE END USART2_Init 0 */

  huart2.Instance = USART2;
  huart2.Init.BaudRate = 9600;
  huart2.Init.WordLength = UART_WORDLENGTH_8B;
  huart2.Init.StopBits = UART_STOPBITS_1;
  huart2.Init.Parity = UART_PARITY_NONE;
  huart2.Init.Mode = UART_MODE_TX_RX;
  huart2.Init.HwFlowCtl = UART_HWCONTROL_NONE;
  huart2.Init.OverSampling = UART_OVERSAMPLING_16;
  if (HAL_UART_Init(&huart2) != HAL_OK)
  {
    Error_Handler();
  }
  /* USER CODE BEGIN USART2_Init 2 */
  HAL_NVIC_SetPriority(USART2_IRQn, 0, 0);
  HAL_NVIC_EnableIRQ(USART2_IRQn);
  /* USER CODE END USART2_Init 2 */

}

static void MX_GPIO_Init(void)
{
  GPIO_InitTypeDef GPIO_InitStruct = {0};

  /* GPIO Ports Clock Enable */
  __HAL_RCC_GPIOC_CLK_ENABLE();
  __HAL_RCC_GPIOD_CLK_ENABLE();
  __HAL_RCC_GPIOA_CLK_ENABLE();
  __HAL_RCC_GPIOB_CLK_ENABLE();

  /*Configure GPIO pin Output Level */
  HAL_GPIO_WritePin(LED_GPIO_Port, LED_Pin, GPIO_PIN_RESET);

  /*Configure GPIO pin Output Level */
  HAL_GPIO_WritePin(NSS_GPIO_Port, NSS_Pin, GPIO_PIN_RESET);

  /*Configure GPIO pin : LED_Pin */
  GPIO_InitStruct.Pin = LED_Pin;
  GPIO_InitStruct.Mode = GPIO_MODE_OUTPUT_PP;
  GPIO_InitStruct.Pull = GPIO_NOPULL;
  GPIO_InitStruct.Speed = GPIO_SPEED_FREQ_LOW;
  HAL_GPIO_Init(LED_GPIO_Port, &GPIO_InitStruct);

  /*Configure GPIO pin : PC14 */
  GPIO_InitStruct.Pin = GPIO_PIN_14;
  GPIO_InitStruct.Mode = GPIO_MODE_IT_FALLING;
  GPIO_InitStruct.Pull = GPIO_NOPULL;
  HAL_GPIO_Init(GPIOC, &GPIO_InitStruct);

  /*Configure GPIO pin : NSS_Pin */
  GPIO_InitStruct.Pin = NSS_Pin;
  GPIO_InitStruct.Mode = GPIO_MODE_OUTPUT_PP;
  GPIO_InitStruct.Pull = GPIO_NOPULL;
  GPIO_InitStruct.Speed = GPIO_SPEED_FREQ_LOW;
  HAL_GPIO_Init(NSS_GPIO_Port, &GPIO_InitStruct);

  /* EXTI interrupt init*/
  HAL_NVIC_SetPriority(EXTI15_10_IRQn, 0, 0);
  HAL_NVIC_EnableIRQ(EXTI15_10_IRQn);

}

/* USER CODE BEGIN 4 */
//*************************************************************
//Función: 			HAL_IncTick
//Descripción: 		Manejo del Systick para demoras en ms
//Parámetros: 		void
//Valor devuelto: 	void
//*************************************************************

void HAL_IncTick(void)
{
  uwTick += uwTickFreq;

  if(CONTADOR_1)
	  CONTADOR_1--;

  if(CONTADOR_2)
	  CONTADOR_2--;

  if(CONTADOR_3)
	  CONTADOR_3--;

  if(CONTADOR_4)
	  CONTADOR_4--;

  if(CONTADOR_ANTIRREBOTE)
	  CONTADOR_ANTIRREBOTE--;

  if(!CONTADOR_ANTIRREBOTE && HAL_GPIO_ReadPin(GPIOC, GPIO_PIN_14)==0 && !flag_estado_irq)
  {
	  flag_pulsador_valido=1;
	  CONTADOR_ANTIRREBOTE=0;
	  flag_estado_irq=1;
  }
}

void HAL_UART_RxCpltCallback(UART_HandleTypeDef *huart)
{
	/*	HAL_UART_Transmit(&huart2, &byte, sizeof(byte), 100);

		//HAL_UART_Receive(&huart2, &byte, sizeof(byte), HAL_MAX_DELAY);
		if (byte == '0')
			HAL_GPIO_WritePin(LED_GPIO_Port, LED_Pin, 0);

		if (byte == '1')
			HAL_GPIO_WritePin(LED_GPIO_Port, LED_Pin, 1);
*/
	//Habilito la interrupción
	HAL_UART_Receive_IT(&huart2, &byte, sizeof(byte));
}

void HAL_UART_TxCpltCallback(UART_HandleTypeDef *huart)
{
	//HAL_UART_Transmit(&huart2, &buf1, sizeof(buf1), HAL_MAX_DELAY);
	HAL_UART_Receive_IT(&huart2, &byte, sizeof(byte));
}

//*************************************************************
//Función: 			HAL_GPIO_EXTI_Callback
//Descripción: 		Manejo de la interrucpción externa
//Parámetros: 		uint16_t GPIO_Pin
//Valor devuelto: 	void
//*************************************************************
void HAL_GPIO_EXTI_Callback(uint16_t GPIO_Pin)
{
	if(flag_estado_irq)
	{

		flag_estado_irq=0;
		CONTADOR_ANTIRREBOTE=50;
	}
}

int Promedio_Movil(int *ptrArrNumbers,long*ptrSum,int pos, int len, int nextNum)
{
	  //Subtract the oldest number from the prev sum, add the new number
	  *ptrSum = *ptrSum - ptrArrNumbers[pos] + nextNum;
	  //Assign the nextNum to the position in the array
	  ptrArrNumbers[pos] = nextNum;
	  //return the average
	  return *ptrSum / len;
}
/* USER CODE END 4 */

void Error_Handler(void)
{
  __disable_irq();
  while (1)
  {
  }
}
